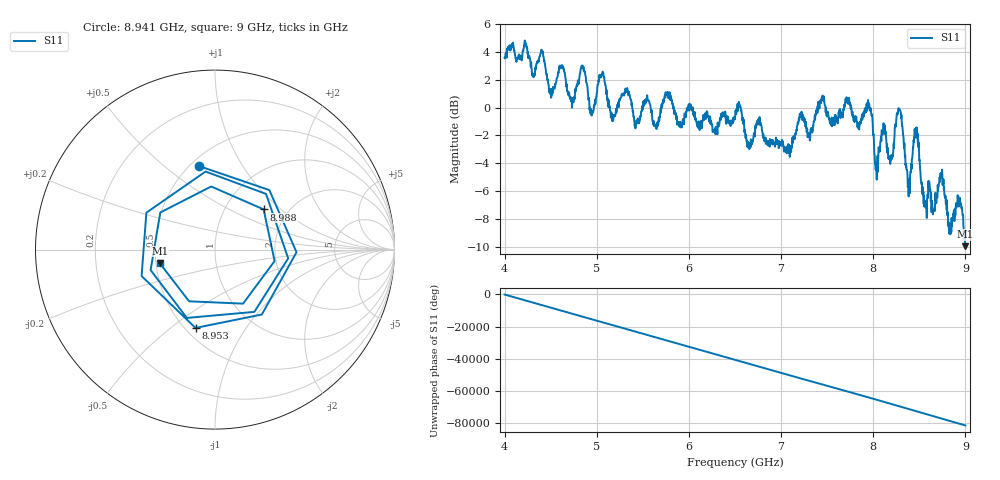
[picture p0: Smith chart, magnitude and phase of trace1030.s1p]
! Created with skrf 1.8.0 (http://scikit-rf.org).
# Hz S RI R 50.0
!freq ReS11 ImS11
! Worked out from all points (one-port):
!   1601 points, 4 GHz to 9 GHz, reference 50 ohm
!   lowest |S11| = -10.0 dB at 9 GHz (marker M1), VSWR 1.93, Z = 26.2 - j4.37 ohm
!   |S11| at or under -10 dB: nowhere
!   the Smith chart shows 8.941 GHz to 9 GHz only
!   S11 on the Smith chart (normalised r, x): 8.941 GHz: 0.55, +0.66; 8.953 GHz: 0.56, -0.61; 8.988 GHz: 1.51, +0.77; 9 GHz: 0.52, -0.09
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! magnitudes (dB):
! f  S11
! 4 GHz  3.6
! 4.406 GHz  4.1
! 4.506 GHz  0.7
! 4.625 GHz  2.8
! 4.734 GHz  0.5
! 4.853 GHz  2.8
! 4.947 GHz  -0.3
! 5.05 GHz  2.3
! 5.169 GHz  -1.0
! 5.25 GHz  0.5
! 5.875 GHz  -1.0
! 6.5 GHz  -0.8
! 7.125 GHz  -2.6
! 7.75 GHz  0.3
! 7.959 GHz  0.1
! 8.038 GHz  -5.2
! 8.109 GHz  -1.7
! 8.194 GHz  -3.7
! 8.281 GHz  -0.1
! 8.375 GHz  -5.7
! 8.462 GHz  -1.4
! 8.559 GHz  -6.7
! 8.738 GHz  -4.8
! 8.831 GHz  -8.9
! 8.941 GHz  -6.5
! 8.953 GHz  -6.9
! 8.988 GHz  -9.1
! 9 GHz  -10.0
